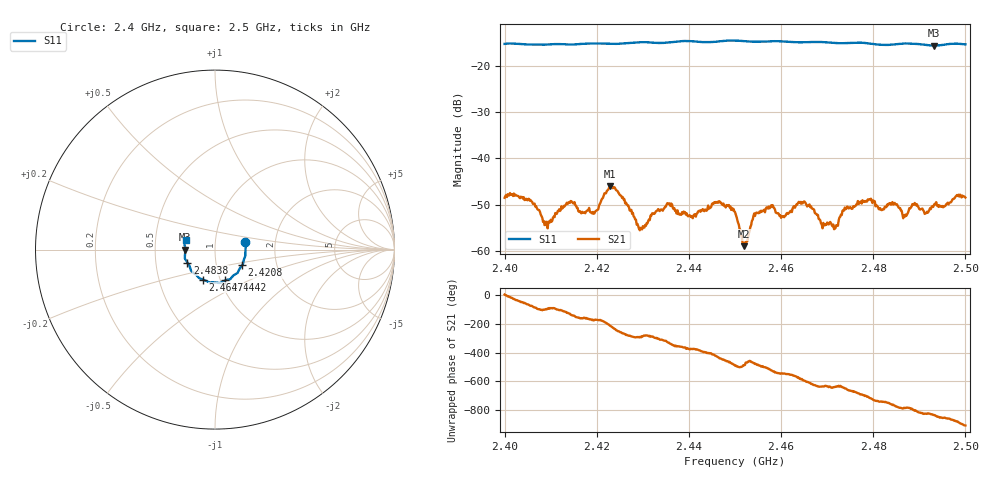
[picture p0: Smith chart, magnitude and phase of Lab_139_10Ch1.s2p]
# Hz S RI R 50
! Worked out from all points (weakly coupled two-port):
!   601 points, 2.4 GHz to 2.5 GHz, reference 50 ohm
!   highest |S21| = -45.98 dB at 2.4228 GHz (marker M1); lowest = -59.0 dB at 2.452 GHz (marker M2)
!   lowest |S11| = -15.6 dB at 2.4932 GHz (marker M3), VSWR 1.40, Z = 35.8 - j0.0819 ohm
!   |S11| at or under -10 dB: start of sweep to end of sweep
!   S12 and S22 are empty: the file has one direction only
!   S11 on the Smith chart (normalised r, x): 2.4 GHz: 1.40, +0.12; 2.4208 GHz: 1.33, -0.24; 2.4442 GHz: 1.05, -0.37; 2.4647 GHz: 0.83, -0.29; 2.4838 GHz: 0.73, -0.11; 2.5 GHz: 0.72, +0.08
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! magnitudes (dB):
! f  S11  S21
! 2.4 GHz  -15.2  -48.5
! 2.4057 GHz  -15.4  -49.1
! 2.4088 GHz  -15.4  -54.4
! 2.414 GHz  -15.4  -49.4
! 2.4167 GHz  -15.2  -51.9
! 2.4208 GHz  -15.2  -49.5
! 2.4228 GHz  -15.2  -46.0
! 2.4293 GHz  -14.9  -55.5
! 2.4333 GHz  -15.0  -51.0
! 2.4442 GHz  -14.9  -50.2
! 2.45 GHz  -14.5  -51.6
! 2.452 GHz  -14.6  -59.0
! 2.4545 GHz  -14.8  -51.8
! 2.4647 GHz  -14.9  -49.7
! 2.4667 GHz  -14.8  -50.8
! 2.4717 GHz  -15.1  -55.2
! 2.4772 GHz  -15.0  -49.4
! 2.4833 GHz  -15.5  -49.8
! 2.4838 GHz  -15.4  -50.0
! 2.4868 GHz  -15.2  -52.6
! 2.4932 GHz  -15.6  -50.1
! 2.5 GHz  -15.4  -48.5
